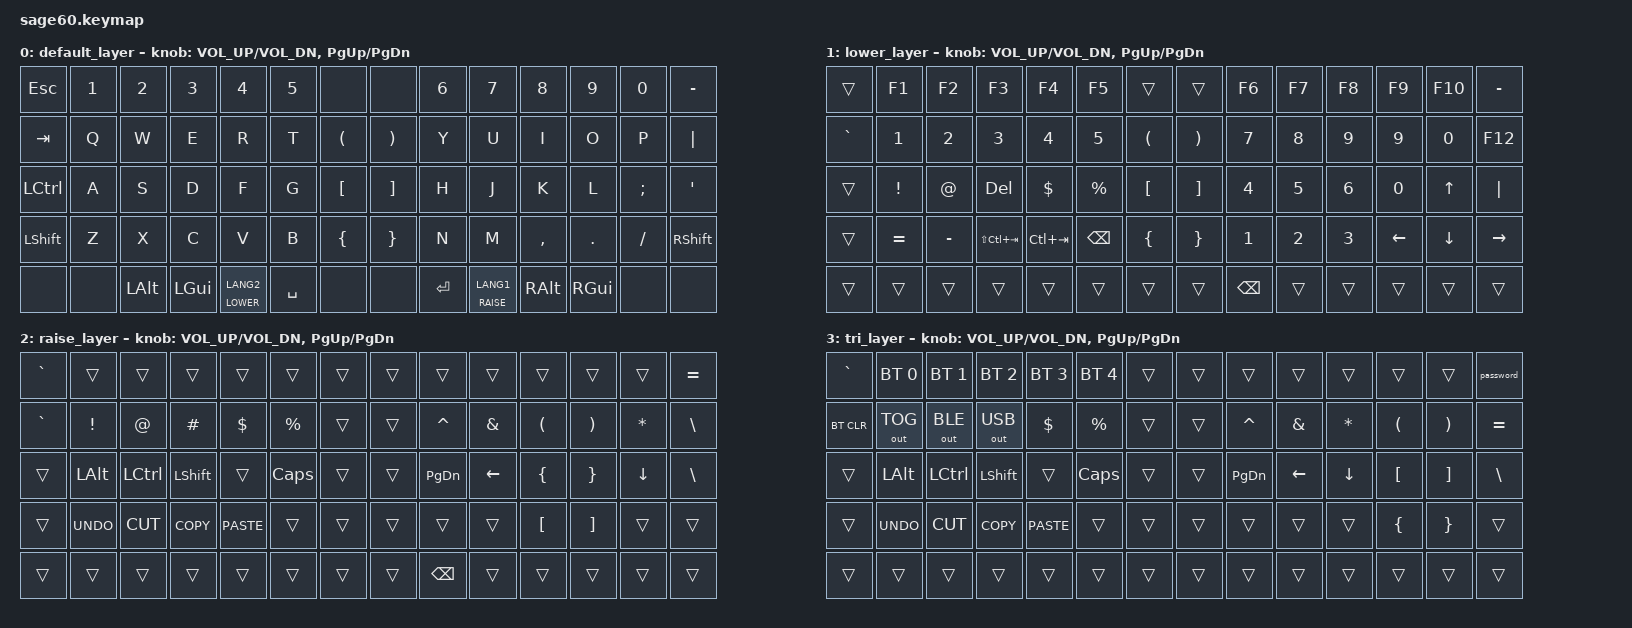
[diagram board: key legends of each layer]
/*
 * Copyright (c) 2020 The ZMK Contributors
 *
 * SPDX-License-Identifier: MIT
 */

#include <behaviors.dtsi>
#include <dt-bindings/zmk/keys.h>
#include <dt-bindings/zmk/outputs.h>
#include <dt-bindings/zmk/bt.h>

#define DEFAULT 0
#define LOWER   1
#define RAISE   2

&mt {
    tapping-term-ms = <500>;
};

/ {
    macros {
        password: password {
            label = "password";
            compatible = "zmk,behavior-macro";
            #binding-cells = <0>;
            wait-ms = <10>;
            tap-ms = <10>;
            bindings
                = <&macro_press &kp LSHFT>
                , <&macro_tap &kp A>
                ;
        };
    };
};



/ {

    conditional_layers {
        compatible = "zmk,conditional-layers";
        tri_layer {
            if-layers = <1 2>;
            then-layer = <3>;
        };
    };

    keymap {
        compatible = "zmk,keymap";

        default_layer {
// ------------------------------------------------------------------------------------------------------------
// |  `    |  1  |  2  |  3   |  4   |  5   |                   |  6   |  7    |  8    |  9   |   0   |       |
// |  ESC  |  Q  |  W  |  E   |  R   |  T   |   [    |     ]    |  Y   |  U    |  I    |  O   |   P   | BKSPC |
// |  TAB  |  A  |  S  |  D   |  F   |  G   |   {    |     }    |  H   |  J    |  K    |  L   |   ;   |   '   |
// | SHIFT |  Z  |  X  |  C   |  V   |  B   |   (    |     )    |  N   |  M    |  ,    |  .   |   /   | SHIFT |
//                     | GUI  | ALT  | LOWER|  SPACE |  | ENTER | RAISE| ALT   | GUI   |
            bindings = <
&kp ESC   &kp N1 &kp N2   &kp N3   &kp N4    &kp N5  &none     &none     &kp N6 &kp N7    &kp N8    &kp N9   &kp N0   &kp MINUS
&kp TAB   &kp Q  &kp W    &kp E    &kp R     &kp T   &kp LPAR  &kp RPAR  &kp Y  &kp U     &kp I     &kp O    &kp P    &kp PIPE
&kp LCTRL &kp A  &kp S    &kp D    &kp F     &kp G   &kp LBKT  &kp RBKT  &kp H  &kp J     &kp K     &kp L    &kp SEMI &kp SQT
&kp LSHFT &kp Z  &kp X    &kp C    &kp V     &kp B   &kp LBRC  &kp RBRC  &kp N  &kp M     &kp COMMA &kp DOT  &kp FSLH &kp RSHFT
&none     &none  &kp LALT &kp LGUI &lt LOWER LANG2   &kp SPACE &none &none  &kp ENTER &lt RAISE LANG1  &kp RALT  &kp RGUI &none    &none
            >;

            sensor-bindings = <&inc_dec_kp C_VOL_UP C_VOL_DN &inc_dec_kp PG_UP PG_DN>;
        };

        lower_layer {
// TODO: Some binds are waiting for shifted keycode support.
// ------------------------------------------------------------------------------------------------------------
// |       |  F1 |  F2 |  F3  |  F4  |  F5  |                   |  F6  |  F7   |  F8   |  F9  |  F10  |  F11  |
// | `     |   1 |   2 |   3  |   4  |   5  |                   |   6  |   7   |   8   |   9  |    0  |  F12  |
// |       |  !  |  @  |  #   |  $   |  %   |                   |  ^   |  &    |  *    |  (   |   )   |   |   |
// |       |  =  |  -  |  +   |  {   |  }   |        |  |       |  [   |  ]    |  ;    |  :   |   \   |       |
//               |     |      |      |      |        |  |       |      |       |       |      |
            bindings = <
&trans    &kp F1    &kp F2    &kp F3      &kp F4    &kp F5    &trans    &trans    &kp F6  &kp F7  &kp F8    &kp F9    &kp F10   &kp MINUS
&kp GRAVE &kp N1    &kp N2    &kp N3      &kp N4    &kp N5    &kp LPAR  &kp RPAR  &kp N7  &kp N8  &kp N9    &kp N9    &kp N0    &kp F12
&trans    &kp EXCL  &kp AT    &kp DEL     &kp DLLR  &kp PRCNT &kp LBKT  &kp RBKT  &kp N4  &kp N5  &kp N6    &kp N0  &kp UP    &kp PIPE
&trans    &kp EQUAL &kp MINUS &kp LS(LC(TAB)) &kp LC(TAB)  &kp BSPC  &kp LBRC  &kp RBRC  &kp N1  &kp N2  &kp N3    &kp LEFT  &kp DOWN  &kp RIGHT
&trans &trans                 &trans      &trans    &trans    &trans  &trans    &trans &kp BSPC &trans    &trans   &trans    &trans &trans
            >;
            sensor-bindings = <&inc_dec_kp C_VOL_UP C_VOL_DN &inc_dec_kp PG_UP PG_DN>;
        };

        raise_layer {
// ------------------------------------------------------------------------------------------------------------
// |BTCLR| BT1  | BT2  |  BT3  |  BT4  |  BT5 |                |      |      |       |      |       |       |
// |     | INS  | PSCR | GUI   |       |      |                | PGUP |      |   ^   |      |       |       |
// |     | ALT  | CTRL | SHIFT |       | CAPS |                | PGDN |   <- |   v   |  ->  |  DEL  | BKSPC |
// |     | UNDO | CUT  | COPY  | PASTE |      |      |  |      |      |      |       |      |       |       |
//              |      |       |       |      |      |  |      |      |      |       |      |
            bindings = <
&kp GRAVE  &trans      &trans    &trans     &trans      &trans    &trans   &trans  &trans    &trans    &trans    &trans    &trans    &kp EQUAL
&kp GRAVE &kp EXCL    &kp AT    &kp HASH   &kp DLLR    &kp PRCNT &trans   &trans  &kp CARET &kp AMPS  &kp LPAR  &kp RPAR  &kp ASTRK &kp BSLH
&trans     &kp LALT    &kp LCTRL &kp LSHFT  &trans      &kp CLCK  &trans   &trans  &kp PG_DN &kp LEFT  &kp LBRC  &kp RBRC  &kp DOWN  &kp BSLH
&trans     &kp K_UNDO  &kp K_CUT &kp K_COPY &kp K_PASTE &trans    &trans   &trans  &trans    &trans    &kp LBKT  &kp RBKT  &trans    &trans
&trans &trans                 &trans      &trans    &trans    &trans  &trans    &trans &kp BSPC &trans    &trans   &trans    &trans &trans
            >;

            sensor-bindings = <&inc_dec_kp C_VOL_UP C_VOL_DN &inc_dec_kp PG_UP PG_DN>;
        };

        tri_layer {
// ------------------------------------------------------------------------------------------------------------
// |BTCLR| BT1  | BT2  |  BT3  |  BT4  |  BT5 |                |      |      |       |      |       |       |
// |     | INS  | PSCR | GUI   |       |      |                | PGUP |      |   ^   |      |       |       |
// |     | ALT  | CTRL | SHIFT |       | CAPS |                | PGDN |   <- |   v   |  ->  |  DEL  | BKSPC |
// |     | UNDO | CUT  | COPY  | PASTE |      |      |  |      |      |      |       |      |       |       |
//              |      |       |       |      |      |  |      |      |      |       |      |
            bindings = <
&kp GRAVE  &bt BT_SEL 0 &bt BT_SEL 1 &bt BT_SEL 2 &bt BT_SEL 3 &bt BT_SEL 4    &trans    &trans   &trans    &trans    &trans    &trans    &trans    &password
&bt BT_CLR &out OUT_TOG  &out OUT_BLE  &out OUT_USB &kp DLLR    &kp PRCNT &trans    &trans   &kp CARET &kp AMPS  &kp ASTRK &kp LPAR  &kp RPAR  &kp EQUAL
&trans     &kp LALT   &kp LCTRL &kp LSHFT  &trans      &kp CLCK  &trans    &trans   &kp PG_DN &kp LEFT  &kp DOWN  &kp LBKT  &kp RBKT  &kp BSLH
&trans     &kp K_UNDO &kp K_CUT &kp K_COPY &kp K_PASTE &trans    &trans    &trans   &trans    &trans    &trans    &kp LBRC  &kp RBRC  &trans
&trans &trans                 &trans      &trans    &trans    &trans   &trans &trans  &trans &trans  &trans   &trans   &trans &trans
            >;

            sensor-bindings = <&inc_dec_kp C_VOL_UP C_VOL_DN &inc_dec_kp PG_UP PG_DN>;
        };
    };
};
